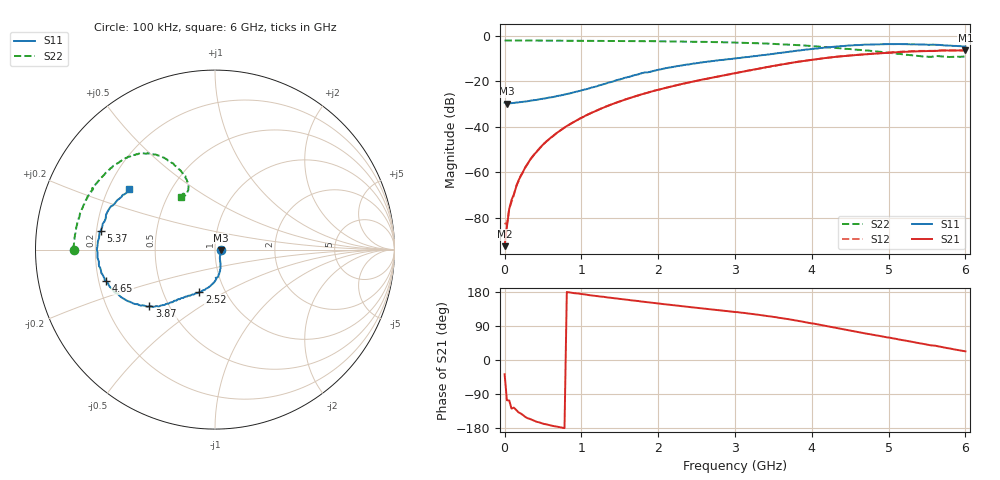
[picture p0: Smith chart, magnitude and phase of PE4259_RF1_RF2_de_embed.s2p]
! Created Fri Oct 06 14:58:36 2006
# hz S ma R 50
! 2 Port Network Data from SP1.SP block
! freq  magS11  angS11  magS21  angS21  magS12  angS12  magS22  angS22
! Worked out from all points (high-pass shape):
!   201 points, 100 kHz to 6 GHz, reference 50 ohm
!   highest |S21| = -6.43 dB at 6 GHz (marker M1); lowest = -92.5 dB at 100 kHz (marker M2)
!   |S21| within 3 dB of the highest: 4.269 GHz to end of sweep
!   lowest |S11| = -29.8 dB at 30.1 MHz (marker M3), VSWR 1.07, Z = 53.3 - j0.185 ohm
!   |S11| at or under -10 dB: start of sweep to 2.987 GHz
!   |S22| runs from -9.3 to -2.1 dB; largest |S21 - S12| = 0.01
!   S11 on the Smith chart (normalised r, x): 100 kHz: 1.07, -0.00; 2.52 GHz: 0.76, -0.38; 3.87 GHz: 0.39, -0.32; 4.65 GHz: 0.23, -0.14; 5.37 GHz: 0.22, +0.08; 6 GHz: 0.29, +0.29
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100000  0.03378 -2.3  2.38e-05 -37.5  7.648e-05 -83.1  0.7875 -179.9
3.00995e7  0.03228 -3.1  6.361e-05 -106.2  7.152e-05 -99.0  0.7885 179.5
9.00985e7  0.03304 -9.0  0.0002468 -128.2  0.0002219 -115.9  0.7885 178.5
1.20098e8  0.03352 -12.4  0.0003249 -125.7  0.0003143 -121.2  0.7866 178.1
1.500975e8  0.03417 -15.3  0.0004721 -131.6  0.0005015 -131.1  0.7865 177.6
1.80097e8  0.03454 -18.0  0.0006575 -138.0  0.0006282 -131.5  0.7865 177.2
2.700955e8  0.03606 -26.5  0.001292 -150.3  0.001282 -150.1  0.7849 175.8
3.60094e8  0.03809 -34.5  0.002173 -158.0  0.002197 -158.4  0.784 174.4
6.0009e8  0.04431 -50.5  0.005742 -172.5  0.005739 -172.2  0.7829 170.9
8.100865e8  0.05261 -58.7  0.01039 179.5  0.01034 179.5  0.7795 167.7
1.020083e9  0.06451 -64.0  0.01629 173.7  0.01651 173.4  0.7765 164.7
1.470076e9  0.1071 -73.3  0.0347 161.9  0.03472 161.5  0.7696 158.4
2.010066e9  0.1807 -91.1  0.06574 148.9  0.06543 148.7  0.7557 150.7
2.520058e9  0.2518 -110.1  0.1044 137.2  0.1041 137.1  0.7379 142.1
3.00005e9  0.3188 -123.2  0.1501 126.7  0.15 126.6  0.7081 133.9
3.870036e9  0.484 -139.2  0.2762 101.6  0.2751 101.5  0.6136 121.2
4.020033e9  0.5169 -142.9  0.2996 96.2  0.2982 96.5  0.5894 119.4
4.650022e9  0.6302 -163.7  0.3858 71.8  0.3886 72.6  0.4855 113.8
5.010016e9  0.6568 -176.2  0.4237 59.1  0.4296 59.4  0.423 112.1
5.37001e9  0.6459 170.7  0.455 45.4  0.4626 45.5  0.3631 114.2
5.640006e9  0.6308 158.5  0.4673 36.3  0.4751 35.9  0.3584 119.4
6e9  0.5845 145.0  0.4772 22.8  0.4762 22.3  0.3504 122.7
